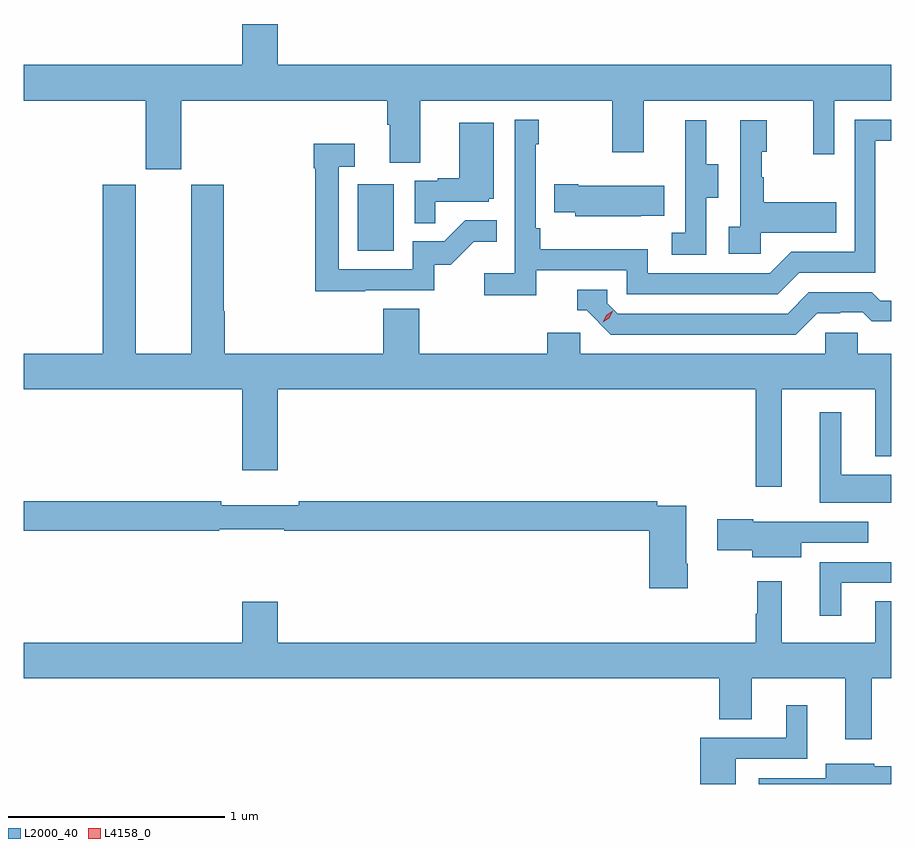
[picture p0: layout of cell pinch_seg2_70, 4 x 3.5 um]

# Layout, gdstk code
import gdstk
lib = gdstk.Library(unit=1e-6, precision=1e-09)
def R(c, l, rs):  # rectangles x0, y0, x1, y1
    for r in rs: c.add(gdstk.rectangle(r[:2], r[2:], *l))
def P(c, l, *ps):  # polygons
    for p in ps: c.add(gdstk.Polygon(p, *l))
L2000_40 = (2000, 40)
L4158_0 = (4158, 0)

pinch_seg2_70 = lib.new_cell('pinch_seg2_70')
R(pinch_seg2_70, L2000_40, [(1040.666,648.276,1040.83,648.583)])
P(pinch_seg2_70, L2000_40, [(1039.852,648.968),(1040.801,648.968),(1040.801,648.856),(1040.813,648.856),(1040.813,648.682),(1040.953,648.682),(1040.953,648.968),(1041.838,648.968),(1041.838,648.729),(1041.985,648.729),(1041.985,648.968),(1042.766,648.968),(1042.766,648.72),(1042.863,648.72),(1042.863,648.968),(1043.125,648.968),(1043.125,649.132),(1040.296,649.132),(1040.296,649.321),(1040.132,649.321),(1040.132,649.132),(1039.125,649.132),(1039.125,648.968),(1039.688,648.968),(1039.688,648.651),(1039.852,648.651)],
  [(1041.488,648.186),(1041.906,648.186),(1041.906,648.075),(1042.603,648.075),(1042.702,648.174),(1043.052,648.174),(1043.052,648.783),(1043.125,648.783),(1043.125,648.879),(1042.956,648.879),(1042.956,648.27),(1042.665,648.27),(1042.566,648.171),(1042.002,648.171),(1042.002,648.283),(1041.506,648.283),(1041.506,648.379),(1041.486,648.379),(1041.486,648.767),(1041.499,648.767),(1041.499,648.88),(1041.39,648.88),(1041.39,648.172),(1041.249,648.172),(1041.249,648.07),(1041.488,648.07)],
  [(1042.272,648.52),(1042.327,648.52),(1042.327,648.675),(1042.273,648.675),(1042.273,648.877),(1042.175,648.877),(1042.175,648.663),(1042.176,648.663),(1042.176,648.359),(1042.113,648.359),(1042.113,648.256),(1042.272,648.256)],
  [(1042.524,648.359),(1042.871,648.359),(1042.871,648.499),(1042.537,648.499),(1042.537,648.614),(1042.527,648.614),(1042.527,648.732),(1042.552,648.732),(1042.552,648.877),(1042.428,648.877),(1042.428,648.386),(1042.377,648.386),(1042.377,648.261),(1042.524,648.261)],
  [(1041.023,648.501),(1041.27,648.501),(1041.27,648.516),(1041.292,648.516),(1041.292,648.865),(1041.134,648.865),(1041.134,648.61),(1041.035,648.61),(1041.035,648.597),(1040.928,648.597),(1040.928,648.403),(1041.023,648.403)],
  [(1040.699,648.093),(1041.018,648.093),(1041.018,648.21),(1041.094,648.21),(1041.201,648.317),(1041.305,648.317),(1041.305,648.416),(1041.161,648.416),(1041.063,648.318),(1040.919,648.318),(1040.919,648.189),(1040.577,648.189),(1040.577,648.663),(1040.65,648.663),(1040.65,648.769),(1040.461,648.769),(1040.461,648.656),(1040.469,648.656),(1040.469,648.088),(1040.699,648.088)],
  [(1041.971,648.437),(1042.079,648.437),(1042.079,648.574),(1041.682,648.574),(1041.682,648.582),(1041.571,648.582),(1041.571,648.452),(1041.669,648.452),(1041.669,648.434),(1041.971,648.434)],
  [(1042.621,647.636),(1043.051,647.636),(1043.051,647.327),(1043.125,647.327),(1043.125,647.8),(1042.971,647.8),(1042.971,647.898),(1042.821,647.898),(1042.821,647.8),(1041.69,647.8),(1041.69,647.898),(1041.539,647.898),(1041.539,647.8),(1040.948,647.8),(1040.948,648.008),(1040.783,648.008),(1040.783,647.8),(1040.051,647.8),(1040.051,647.996),(1040.046,647.996),(1040.046,648.579),(1039.898,648.579),(1039.898,647.8),(1039.642,647.8),(1039.642,648.579),(1039.49,648.579),(1039.49,647.8),(1039.125,647.8),(1039.125,647.636),(1040.132,647.636),(1040.132,647.262),(1040.296,647.262),(1040.296,647.636),(1042.5,647.636),(1042.5,647.187),(1042.621,647.187)],
  [(1042.783,647.988),(1042.89,647.988),(1042.89,647.991),(1042.993,647.991),(1043.035,647.949),(1043.125,647.949),(1043.125,648.045),(1043.074,648.045),(1043.035,648.084),(1042.746,648.084),(1042.647,647.985),(1041.864,647.985),(1041.816,648.033),(1041.816,648.096),(1041.677,648.096),(1041.677,648),(1041.72,648),(1041.831,647.889),(1042.684,647.889)],
  [(1043.125,647.242),(1042.894,647.242),(1042.894,647.53),(1042.796,647.53),(1042.796,647.114),(1043.125,647.114)],
  [(1042.188,646.831),(1042.18,646.831),(1042.18,647.1),(1042.046,647.1),(1042.046,647.12),(1040.392,647.12),(1040.392,647.101),(1040.036,647.101),(1040.036,647.12),(1039.125,647.12),(1039.125,646.984),(1040.026,646.984),(1040.026,646.992),(1040.326,646.992),(1040.326,646.984),(1042.01,646.984),(1042.01,646.719),(1042.188,646.719)],
  [(1042.711,646.929),(1043.02,646.929),(1043.02,647.025),(1042.707,647.025),(1042.707,647.026),(1042.488,647.026),(1042.488,647.036),(1042.323,647.036),(1042.323,646.894),(1042.484,646.894),(1042.484,646.862),(1042.711,646.862)],
  [(1042.894,646.743),(1043.125,646.743),(1043.125,646.839),(1042.796,646.839),(1042.796,646.593),(1042.894,646.593)],
  [(1043.035,646.304),(1043.125,646.304),(1043.125,646.658),(1043.051,646.658),(1043.051,646.468),(1042.621,646.468),(1042.621,646.75),(1042.507,646.75),(1042.507,646.601),(1042.5,646.601),(1042.5,646.468),(1040.296,646.468),(1040.296,646.657),(1040.132,646.657),(1040.132,646.468),(1039.125,646.468),(1039.125,646.304),(1042.331,646.304),(1042.331,646.114),(1042.483,646.114),(1042.483,646.304),(1042.913,646.304),(1042.913,646.023),(1043.035,646.023)],
  [(1042.408,645.933),(1042.738,645.933),(1042.738,646.18),(1042.64,646.18),(1042.64,646.029),(1042.244,646.029),(1042.244,645.816),(1042.408,645.816)],
  [(1043.125,645.897),(1043.046,645.897),(1043.046,645.91),(1042.823,645.91),(1042.823,645.843),(1042.515,645.843),(1042.515,645.816),(1043.125,645.816)])
P(pinch_seg2_70, L4158_0, [(1041.794,647.945),(1041.794,647.946),(1041.81,647.978),(1041.84,647.998),(1041.841,647.998),(1041.841,647.998),(1041.825,647.965),(1041.795,647.945)])

lib.write_gds('pinch_seg2_70.gds')
